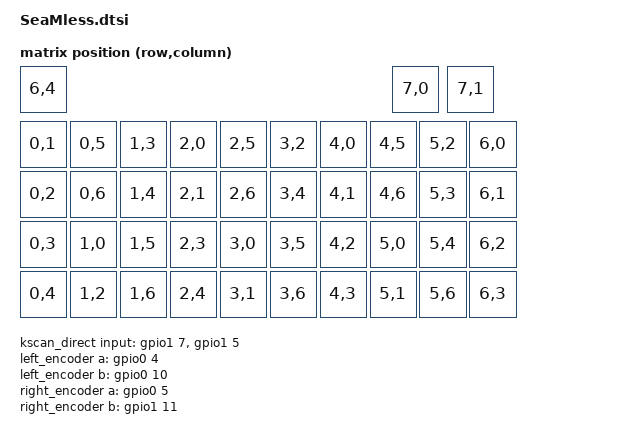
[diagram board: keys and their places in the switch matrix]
#include <dt-bindings/zmk/matrix_transform.h>
#include <physical_layouts.dtsi>

/ {
    chosen {
        zmk,physical-layout = &SeaMless_physical_layout;
        zmk,kscan = &kscan_composite;
    };

    SeaMless_physical_layout: SeaMless_physical_layout {
        compatible = "zmk,physical-layout";
        display-name = "Default";
        transform = <&default_transform>;
        kscan = <&kscan_composite>;

        keys
            = <&key_physical_attrs 100 100    0    0 0 0 0>
            , <&key_physical_attrs 100 100  100    0 0 0 0>
            , <&key_physical_attrs 100 100  200    0 0 0 0>
            , <&key_physical_attrs 100 100  300    0 0 0 0>
            , <&key_physical_attrs 100 100  400    0 0 0 0>
            , <&key_physical_attrs 100 100  500    0 0 0 0>
            , <&key_physical_attrs 100 100  600    0 0 0 0>
            , <&key_physical_attrs 100 100  700    0 0 0 0>
            , <&key_physical_attrs 100 100  800    0 0 0 0>
            , <&key_physical_attrs 100 100  900    0 0 0 0>

            , <&key_physical_attrs 100 100    0  100 0 0 0>
            , <&key_physical_attrs 100 100  100  100 0 0 0>
            , <&key_physical_attrs 100 100  200  100 0 0 0>
            , <&key_physical_attrs 100 100  300  100 0 0 0>
            , <&key_physical_attrs 100 100  400  100 0 0 0>
            , <&key_physical_attrs 100 100  500  100 0 0 0>
            , <&key_physical_attrs 100 100  600  100 0 0 0>
            , <&key_physical_attrs 100 100  700  100 0 0 0>
            , <&key_physical_attrs 100 100  800  100 0 0 0>
            , <&key_physical_attrs 100 100  900  100 0 0 0>

            , <&key_physical_attrs 100 100    0  200 0 0 0>
            , <&key_physical_attrs 100 100  100  200 0 0 0>
            , <&key_physical_attrs 100 100  200  200 0 0 0>
            , <&key_physical_attrs 100 100  300  200 0 0 0>
            , <&key_physical_attrs 100 100  400  200 0 0 0>
            , <&key_physical_attrs 100 100  500  200 0 0 0>
            , <&key_physical_attrs 100 100  600  200 0 0 0>
            , <&key_physical_attrs 100 100  700  200 0 0 0>
            , <&key_physical_attrs 100 100  800  200 0 0 0>
            , <&key_physical_attrs 100 100  900  200 0 0 0>

            , <&key_physical_attrs 100 100    0  300 0 0 0>
            , <&key_physical_attrs 100 100  100  300 0 0 0>
            , <&key_physical_attrs 100 100  200  300 0 0 0>
            , <&key_physical_attrs 100 100  300  300 0 0 0>
            , <&key_physical_attrs 100 100  400  300 0 0 0>
            , <&key_physical_attrs 100 100  500  300 0 0 0>
            , <&key_physical_attrs 100 100  600  300 0 0 0>
            , <&key_physical_attrs 100 100  700  300 0 0 0>
            , <&key_physical_attrs 100 100  800  300 0 0 0>
            , <&key_physical_attrs 100 100  900  300 0 0 0>

            , <&key_physical_attrs 100 100    0 (-110) 0 0 0> /* extra key above the upper-left key */
            , <&key_physical_attrs 100 100  745 (-110) 0 0 0> /* MOUSE_SW1 */
            , <&key_physical_attrs 100 100  855 (-110) 0 0 0> /* MOUSE_SW2 */
            ;
    };

    default_transform: keymap_transform_0 {
        compatible = "zmk,matrix-transform";
        columns = <7>;
        rows = <8>;
        map = <
            RC(0,1) RC(0,5) RC(1,3) RC(2,0) RC(2,5)                     RC(3,2) RC(4,0) RC(4,5) RC(5,2) RC(6,0)
            RC(0,2) RC(0,6) RC(1,4) RC(2,1) RC(2,6)                     RC(3,4) RC(4,1) RC(4,6) RC(5,3) RC(6,1)
            RC(0,3) RC(1,0) RC(1,5) RC(2,3) RC(3,0)                     RC(3,5) RC(4,2) RC(5,0) RC(5,4) RC(6,2)
            RC(0,4) RC(1,2) RC(1,6) RC(2,4) RC(3,1)                     RC(3,6) RC(4,3) RC(5,1) RC(5,6) RC(6,3)
                                                                        RC(6,4) RC(7,0) RC(7,1)
        >;
    };

    kscan_composite: kscan_composite {
        compatible = "zmk,kscan-composite";
        rows = <8>;
        columns = <7>;

        charlieplex {
            kscan = <&kscan_charlieplex>;
        };

        direct {
            kscan = <&kscan_direct>;
            row-offset = <7>;
        };
    };

    kscan_charlieplex: kscan_charlieplex {
        compatible = "zmk,kscan-gpio-charlieplex";
        label = "KSCAN_CHARLIEPLEX";
        wakeup-source;
        interrupt-gpios = <&gpio0 2 (GPIO_ACTIVE_HIGH | GPIO_PULL_DOWN)>; /* INTR */
        gpios
            = <&gpio0 15 GPIO_ACTIVE_HIGH> /* IO_0 */
            , <&gpio0 3 GPIO_ACTIVE_HIGH>  /* IO_1 */
            , <&gpio0 19 GPIO_ACTIVE_HIGH> /* IO_2 */
            , <&gpio0 28 GPIO_ACTIVE_HIGH> /* IO_3 */
            , <&gpio1 1 GPIO_ACTIVE_HIGH>  /* IO_4 */
            , <&gpio0 29 GPIO_ACTIVE_HIGH> /* IO_5 */
            , <&gpio0 9 GPIO_ACTIVE_HIGH>  /* IO_6 */
            ;
        debounce-press-ms = <5>;
        debounce-release-ms = <5>;
    };

    kscan_direct: kscan_direct {
        compatible = "zmk,kscan-gpio-direct";
        label = "KSCAN_DIRECT";
        wakeup-source;
        input-gpios
            = <&gpio1 7 (GPIO_ACTIVE_LOW | GPIO_PULL_UP)>  /* MOUSE_SW1 */
            , <&gpio1 5 (GPIO_ACTIVE_LOW | GPIO_PULL_UP)>  /* MOUSE_SW2 */
            ;
        debounce-press-ms = <5>;
        debounce-release-ms = <5>;
    };

    left_encoder: left_encoder {
        compatible = "alps,ec11";
        a-gpios = <&gpio0 4 (GPIO_ACTIVE_LOW | GPIO_PULL_UP)>;  /* RE1A */
        b-gpios = <&gpio0 10 (GPIO_ACTIVE_LOW | GPIO_PULL_UP)>; /* RE1B */
        steps = <12>;
        status = "okay";
    };

    right_encoder: right_encoder {
        compatible = "alps,ec11";
        a-gpios = <&gpio0 5 (GPIO_ACTIVE_LOW | GPIO_PULL_UP)>;  /* RE2A */
        b-gpios = <&gpio1 11 (GPIO_ACTIVE_LOW | GPIO_PULL_UP)>; /* RE2B */
        steps = <12>;
        status = "okay";
    };

    sensors: sensors {
        compatible = "zmk,keymap-sensors";
        sensors = <&left_encoder &right_encoder>;
        left_encoder {
            triggers-per-rotation = <6>;
        };
        right_encoder {
            triggers-per-rotation = <6>;
        };
    };

    chg_stat: chg_stat {
        compatible = "custom,chg-stat";
        gpios = <&gpio0 17 GPIO_ACTIVE_LOW>;
        status = "okay";
    };
};
